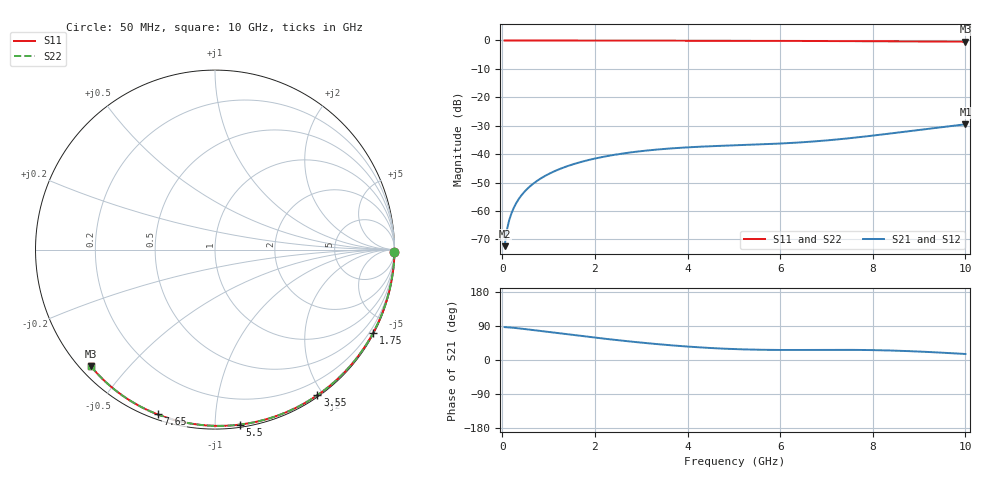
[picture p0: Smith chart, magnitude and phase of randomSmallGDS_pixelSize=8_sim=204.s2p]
! freq	dB(S11)	phase(S11)	dB(S12)	phase(S12)
!  dB(S21)	phase(S21)	dB(S22)	phase(S22)
!S-par simulation data
#  GHz  S  DB  R 50
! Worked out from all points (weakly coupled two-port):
!   200 points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, 50 MHz to 10 GHz, reference 50 ohm
!   highest |S21| = -29.50 dB at 10 GHz (marker M1); lowest = -72.4 dB at 50 MHz (marker M2)
!   lowest |S11| = -0.5 dB at 10 GHz (marker M3), VSWR 38.31, Z = 1.51 - j19.7 ohm
!   |S11| at or under -10 dB: nowhere
!   |S22| runs from -0.5 to 0.0 dB; largest |S21 - S12| = 0
!   S11 on the Smith chart (normalised r, x): 50 MHz: open; 1.75 GHz: 0.04, -4.04; 3.55 GHz: 0.02, -1.92; 5.5 GHz: 0.02, -1.15; 7.65 GHz: 0.02, -0.71; 10 GHz: 0.03, -0.39
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0.05  -0.00 -0.8  -72.37 86.8  -72.37 86.8  -0.00 -0.8
0.1  -0.00 -1.6  -66.59 86.2  -66.59 86.2  -0.00 -1.6
0.15  -0.00 -2.4  -63.17 85.9  -63.17 85.9  -0.00 -2.4
0.2  -0.00 -3.2  -60.72 85.4  -60.72 85.4  -0.00 -3.2
0.25  -0.00 -4.0  -58.80 84.9  -58.80 84.9  -0.00 -4.0
0.35  -0.00 -5.6  -55.91 83.6  -55.91 83.6  -0.00 -5.6
0.5  -0.01 -8.1  -52.85 81.5  -52.85 81.5  -0.01 -8.1
0.7  -0.01 -11.2  -49.98 78.5  -49.98 78.5  -0.01 -11.2
1  -0.02 -16.0  -46.98 73.9  -46.98 73.9  -0.02 -16.0
1.35  -0.03 -21.5  -44.54 68.6  -44.54 68.6  -0.03 -21.5
1.75  -0.04 -27.8  -42.52 62.7  -42.52 62.7  -0.04 -27.8
2.5  -0.05 -39.3  -40.02 52.2  -40.02 52.2  -0.05 -39.3
3.4  -0.07 -52.7  -38.29 41.3  -38.29 41.3  -0.07 -52.7
3.55  -0.07 -54.9  -38.09 39.7  -38.09 39.7  -0.07 -54.9
4.3  -0.09 -65.6  -37.35 33.0  -37.35 33.0  -0.09 -65.6
5.05  -0.12 -76.0  -36.87 28.6  -36.87 28.6  -0.12 -76.0
5.5  -0.13 -82.0  -36.60 27.2  -36.60 27.2  -0.13 -82.0
6.7  -0.19 -97.5  -35.56 26.6  -35.56 26.6  -0.19 -97.5
7.65  -0.24 -109.2  -34.12 26.6  -34.12 26.6  -0.24 -109.3
8.35  -0.30 -117.6  -32.79 25.2  -32.79 25.2  -0.30 -117.6
9.2  -0.37 -127.6  -31.07 21.2  -31.07 21.2  -0.37 -127.6
10  -0.45 -136.9  -29.50 15.8  -29.50 15.8  -0.45 -136.9
